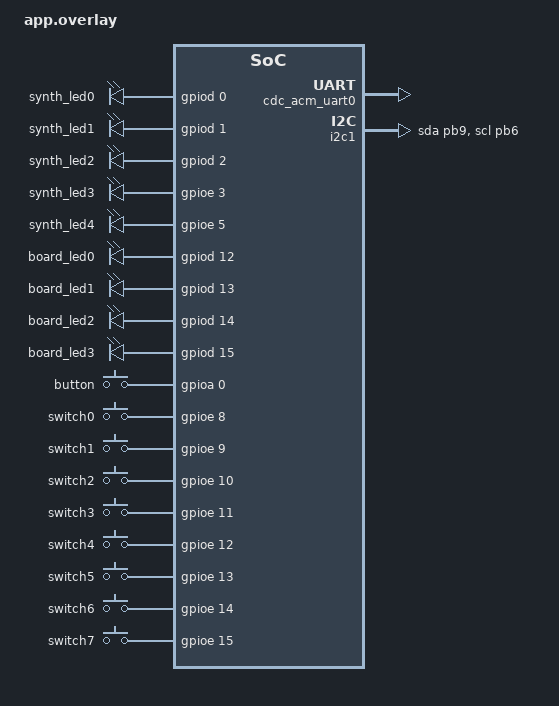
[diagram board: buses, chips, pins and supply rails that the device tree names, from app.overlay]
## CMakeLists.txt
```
cmake_minimum_required(VERSION 3.20.0)

set(BOARD stm32f4_disco)
set(CONF_FILE prj.conf)
find_package(Zephyr)
project(my_zephyr_app)

target_sources(app PRIVATE 
src/main.c 
src/gpio.c
src/task_main.c
src/scheduler.c
        src/task_abstraction.c
src/peripherals.c
)
```

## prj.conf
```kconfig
CONFIG_USB_DEVICE_STACK=y
CONFIG_USB_DEVICE_PID=0x0001

CONFIG_CONSOLE=y
CONFIG_SERIAL=y
CONFIG_STDOUT_CONSOLE=y
CONFIG_UART_LINE_CTRL=y

CONFIG_I2C=y
CONFIG_I2S=y
CONFIG_ADC=y
CONFIG_GPIO=y

# CONFIG_UART_INTERRUPT_DRIVEN=y
CONFIG_LOG=y
CONFIG_USB_DRIVER_LOG_LEVEL_ERR=y
CONFIG_USB_DEVICE_LOG_LEVEL_ERR=y
CONFIG_SERIAL=y
CONFIG_UART_INTERRUPT_DRIVEN=y
CONFIG_UART_LINE_CTRL=y
CONFIG_SYS_CLOCK_TICKS_PER_SEC=30000
CONFIG_MAIN_STACK_SIZE=2048
CONFIG_PRINTK=y
CONFIG_LOG_MODE_IMMEDIATE=y
```

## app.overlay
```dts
/ {
	chosen {
        zephyr,console = &cdc_acm_uart0;
    };

    leds {
        compatible = "gpio-leds";
        synth_led0: led_0 {
                gpios = <&gpiod 0 GPIO_ACTIVE_HIGH>;
        };
        synth_led1: led_1 {
                gpios = <&gpiod 1 GPIO_ACTIVE_HIGH>;
        };
        synth_led2: led_2 {
                gpios = <&gpiod 2 GPIO_ACTIVE_HIGH>;
        };
        synth_led3: led_3 {
                gpios = <&gpioe 3 GPIO_ACTIVE_HIGH>;
        };
        synth_led4: led_4 {
                gpios = <&gpioe 5 GPIO_ACTIVE_HIGH>;
        };
        board_led0: led_5 {
            gpios = <&gpiod 12 GPIO_ACTIVE_HIGH>;
        };
        board_led1: led_6 {
            gpios = <&gpiod 13 GPIO_ACTIVE_HIGH>;
        };
        board_led2: led_7 {
            gpios = <&gpiod 14 GPIO_ACTIVE_HIGH>;
        };
        board_led3: led_8 {
            gpios = <&gpiod 15 GPIO_ACTIVE_HIGH>;
        };
    };
    buttons {
        compatible = "gpio-keys";
        button: button {
            gpios = <&gpioa 0 GPIO_ACTIVE_HIGH>;
        };
        switch0: button_0 {
            gpios = <&gpioe 8 GPIO_ACTIVE_HIGH>;
        };
        switch1: button_1 {
            gpios = <&gpioe 9 GPIO_ACTIVE_HIGH>;
        };
        switch2: button_2 {
            gpios = <&gpioe 10 GPIO_ACTIVE_HIGH>;
        };
        switch3: button_3 {
            gpios = <&gpioe 11 GPIO_ACTIVE_HIGH>;
        };
        switch4: button_4 {
            gpios = <&gpioe 12 GPIO_ACTIVE_HIGH>;
        };
        switch5: button_5 {
            gpios = <&gpioe 13 GPIO_ACTIVE_HIGH>;
        };
        switch6: button_6 {
            gpios = <&gpioe 14 GPIO_ACTIVE_HIGH>;
        };
        switch7: button_7 {
            gpios = <&gpioe 15 GPIO_ACTIVE_HIGH>;
        };
    };

    aliases {
        switch0 = &switch0;
        switch1 = &switch1;
        switch2 = &switch2;
        switch3 = &switch3;
        switch4 = &switch4;
        switch5 = &switch5;
        switch6 = &switch6;
        switch7 = &switch7;
    };

};

&zephyr_udc0 {
	cdc_acm_uart0: cdc_acm_uart0 {
		compatible = "zephyr,cdc-acm-uart";
	};
};

&i2c1 {
    pinctrl-0 = <&i2c1_sda_pb9 &i2c1_scl_pb6>;
    pinctrl-names = "default";
    status = "okay";
};
```

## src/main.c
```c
/*
 * Copyright (c) 2016 Intel Corporation
 *
 * SPDX-License-Identifier: Apache-2.0
 */

#include <zephyr/kernel.h>
#include <zephyr/drivers/uart.h>
#include <zephyr/sys/printk.h>
#include <zephyr/sys/ring_buffer.h>
#include <zephyr/usb/usb_device.h>
#include <zephyr/usb/usbd.h>

#include "task_abstraction.h"
#include "gpio.h"
// Uncomment this macro if you want to print to the console.
//
// WARNING: this will mess up the timings, don't use when you are measuring with
// the logic analyzer.
//
// The initialization function will block until the computer opens the USB
// connection.
#define CONSOLE_ENABLED

// Scheduler Configuration
//
// Only uncomment one #define to select the Task Set
//
#define TASK_SET_1
// #define TASK_SET_2
// #define TASK_SET_3
//#define APERIODIC_TASKS

int main() {
#ifdef CONSOLE_ENABLED
  const struct device *usb_dev = DEVICE_DT_GET(DT_CHOSEN(zephyr_console));
  uint32_t dtr = 0;
  int ret = 0;

  // No need to initialize, as it happens during OS initialization, just enable it.
  if (usb_enable(NULL)) {
    return 1;
  }

    // This will block until the computer opens the USB
  while (!dtr) {
    uart_line_ctrl_get(usb_dev, UART_LINE_CTRL_DTR, &dtr);
    k_sleep(K_MSEC(100));
  }
#endif

    init_pins();
    init_peripherals();

#ifdef TASK_SET_1
    //Task Set 1
    spawn_task(2, 20, leds[0]);
    spawn_task(10, 40, leds[1]);
    spawn_task(30, 60, leds[2]);
#elif defined TASK_SET_2
    //Task Set 2
    // U = 1
    spawn_task(20, 40, leds[0]);
    spawn_task(24, 60, leds[1]);
    spawn_task(12, 120, leds[2]);
#elif defined TASK_SET_3
    //Task Set 3
    // U > 1
    spawn_task(10, 20, leds[0]);
    spawn_task(15, 30, leds[1]);
    spawn_task(20, 40,  leds[2]);

#elif defined APERIODIC_TASKS
    // Use define_aperiodic_task() to define aperiodic tasks
#endif

    run_scheduler(EDF);
    k_thread_suspend(k_current_get());

    return 0;
}
```

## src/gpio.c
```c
#include <stdbool.h>
#include <zephyr/drivers/gpio.h>
#include <zephyr/logging/log.h>
#include <zephyr/sys/printk.h>
#include "gpio.h"

const struct gpio_dt_spec led_board_0 = GPIO_DT_SPEC_GET(DT_NODELABEL(board_led0), gpios);
const struct gpio_dt_spec led_board_1 = GPIO_DT_SPEC_GET(DT_NODELABEL(board_led1), gpios);
const struct gpio_dt_spec led_board_2 = GPIO_DT_SPEC_GET(DT_NODELABEL(board_led2), gpios);
const struct gpio_dt_spec led_board_3 = GPIO_DT_SPEC_GET(DT_NODELABEL(board_led3), gpios);
const struct gpio_dt_spec led_synth_0 = GPIO_DT_SPEC_GET(DT_NODELABEL(synth_led0), gpios);
const struct gpio_dt_spec led_synth_1 = GPIO_DT_SPEC_GET(DT_NODELABEL(synth_led1), gpios);
const struct gpio_dt_spec led_synth_2 = GPIO_DT_SPEC_GET(DT_NODELABEL(synth_led2), gpios);
const struct gpio_dt_spec led_synth_3 = GPIO_DT_SPEC_GET(DT_NODELABEL(synth_led3), gpios);
const struct gpio_dt_spec led_synth_4 = GPIO_DT_SPEC_GET(DT_NODELABEL(synth_led4), gpios);
const struct gpio_dt_spec *leds[9] = {&led_board_0, &led_board_1, &led_board_2, &led_board_3, &led_synth_0, &led_synth_1,
                                     &led_synth_2, &led_synth_3, &led_synth_4};
const struct gpio_dt_spec button = GPIO_DT_SPEC_GET(DT_NODELABEL(button), gpios);

int init_pins() {    
    for (int i = 0; i < 9; i++) {
        if (!gpio_is_ready_dt(leds[i])) {
            printk("Error initializing LED.\n");
            return -1;
        }

        if (!device_is_ready(button.port)) {
            printk("Error initializing Button.\n");
            return -1;
        }
        gpio_pin_configure_dt(leds[i], GPIO_OUTPUT_ACTIVE);
        gpio_pin_configure_dt(&button, GPIO_INPUT);
        gpio_pin_set_dt(leds[i], false);
    }
    return 0;
}

int set_pin(const struct gpio_dt_spec *led) {
    gpio_pin_set_dt(led, true);
    return 0;
}

int unset_pin(const struct gpio_dt_spec *led) {
    gpio_pin_set_dt(led, false);
    return 0;
}

void reset_as() {
    // Set leds correctly
    for (int i = 0; i < sizeof(leds) / sizeof(leds[0]); i++) {
        unset_pin(leds[i]);
    }
}
```

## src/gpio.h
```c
#ifndef MY_ZEPHYR_APP_GPIO_H
#define MY_ZEPHYR_APP_GPIO_H

#include <zephyr/drivers/gpio.h>

extern const struct gpio_dt_spec led_board_0;
extern const struct gpio_dt_spec led_board_1;
extern const struct gpio_dt_spec led_board_2;
extern const struct gpio_dt_spec led_board_3;
extern const struct gpio_dt_spec led_synth_0;
extern const struct gpio_dt_spec led_synth_1;
extern const struct gpio_dt_spec led_synth_2;
extern const struct gpio_dt_spec led_synth_3;
extern const struct gpio_dt_spec led_synth_4;
extern const struct gpio_dt_spec *leds[];
extern const struct gpio_dt_spec button;

/// @brief Initialize the LEDs and the User Button
/// @return int - Returns 0 if the initialization is successful, -1 otherwise
int init_pins();

/// @brief Set the LED to On
/// @param led - The LED to be set
/// @return int - Returns 0 if the initialization is successful, -1 otherwise
int set_pin(const struct gpio_dt_spec *led);

/// @brief Set the LED to Off
/// @param led - The LED to be unset
/// @return int - Returns 0 if the initialization is successful, -1 otherwise
int unset_pin(const struct gpio_dt_spec *led);

/// @brief Unset all the LEDs
void reset_as();

#endif
```

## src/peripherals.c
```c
#include <zephyr/drivers/gpio.h>

#include "peripherals.h"

// GPIOs
const struct gpio_dt_spec sw1_dn = GPIO_DT_SPEC_GET(DT_ALIAS(switch4), gpios);
const struct gpio_dt_spec sw1_up = GPIO_DT_SPEC_GET(DT_ALIAS(switch5), gpios);
const struct gpio_dt_spec sw2_dn = GPIO_DT_SPEC_GET(DT_ALIAS(switch6), gpios);
const struct gpio_dt_spec sw2_up = GPIO_DT_SPEC_GET(DT_ALIAS(switch7), gpios);
const struct gpio_dt_spec sw3_dn = GPIO_DT_SPEC_GET(DT_ALIAS(switch2), gpios);
const struct gpio_dt_spec sw3_up = GPIO_DT_SPEC_GET(DT_ALIAS(switch3), gpios);

//Switches
enum SwitchState switches[3];

int init_peripherals(){
    for(int i=0; i<3; i++){
        switches[i] = Neutral;
    }
    return 0;
}

int peripherals_update(){
    // Update the switches
    bool up, dn;

    up = gpio_pin_get_dt(&sw1_up);
    dn = gpio_pin_get_dt(&sw1_dn);
    if (up == dn) {
        switches[0] = Neutral;
    } else if (up) {
        switches[0] = Up;
    } else {
        switches[0] = Down;
    }

    up = gpio_pin_get_dt(&sw2_up);
    dn = gpio_pin_get_dt(&sw2_dn);
    if (up == dn) {
        switches[1] = Neutral;
    } else if (up) {
        switches[1] = Up;
    } else {
        switches[1] = Down;
    }

    up = gpio_pin_get_dt(&sw3_up);
    dn = gpio_pin_get_dt(&sw3_dn);
    if (up == dn) {
        switches[2] = Neutral;
    } else if (up) {
        switches[2] = Up;
    } else {
        switches[2] = Down;
    }

    return 0;
}
```

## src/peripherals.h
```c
#ifndef MY_ZEPHYR_APP_PERIPHERALS_H
#define MY_ZEPHYR_APP_PERIPHERALS_H


enum SwitchState  { Down = -1, Neutral = 0, Up = 1 };

extern enum SwitchState switches[3];

/// @brief Peripherals initialization function
/// Call this function during initialization before calling the rest of the fuctions
/// @return 0 on success, -ERRNO otherwise
int init_peripherals();

/// @brief Call this function to update the encoders and switches
/// @return 0 on success, -ERRNO otherwise
int peripherals_update();


#endif //MY_ZEPHYR_APP_PERIPHERALS_H
```

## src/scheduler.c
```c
#include "task_abstraction.h"
#include "scheduler.h"
#include <zephyr/kernel.h>
#include "stdbool.h"
#include "gpio.h"


static int active_task = 0;
k_timeout_t example_scheduler(Task *tasks, int n, bool finished) {
    set_active_task(tasks[active_task].task_id);
    active_task = (active_task + 1) % n;
    return K_FOREVER;
}

int gcd(int a, int b) {
    while (b != 0) {
        int temp = b;
        b = a % b;
        a = temp;
    }
    return a;
}

int lcm(int a, int b) {
    return (a / gcd(a, b)) * b;
}

int calculateHyperperiod(Task *tasks, int n) {
    int hyperperiod = tasks[0].period;
    for (int i = 1; i < n; i++) {
        hyperperiod = lcm(tasks[i].period, hyperperiod);
    }
    return hyperperiod;
}


static Task *current_task = NULL;
static uint32_t last_scheduler_time = 0;

k_timeout_t rate_monotonic(Task *tasks, int n, bool finished) {
    uint32_t current_time = k_uptime_get();
    uint32_t elapsed_time = current_time - last_scheduler_time;
    last_scheduler_time = current_time;

    if (current_task != NULL) {
        if (elapsed_time >= current_task->remaining_time) {
            current_task->remaining_time = 0;
            finished = true;
        } else {
            current_task->remaining_time -= elapsed_time;
            finished = false;
        }
    }

    // All tasks arrive at the same time (time = 0), this bit is to update the next release time because the task
    // has to repeat before its next period (next release time)
    for (int i = 0; i < n; i++) {
        if (current_time >= tasks[i].next_release_time) {
            tasks[i].remaining_time = tasks[i].execution_time;
            tasks[i].next_release_time += tasks[i].period;
        }
    }

    // We loop through the tasks and check if they are unfinished
    // we take the task with the highest priority that is unfinished.

    Task *next_task = NULL;
    int max = INT_MAX;
    for (int i = 0; i < n; i++) {
        if (tasks[i].remaining_time > 0 && tasks[i].period < max) {
            max = tasks[i].period;
            next_task = &tasks[i];
        }
    }

    // Decide whether to preempt the current task
    // If the remaining time is 0 finished is true and another task should be set
    // If there is a next task replace it and there is either no current task or the next task has a shorter period
    // than the current task we set the next task as the current ask.
    if (finished || (next_task != NULL && (current_task == NULL || next_task->period < current_task->period))) {
        if (current_task != next_task) {
            current_task = next_task;
            if (current_task != NULL) {
                set_active_task(current_task->task_id);
            }
        }
    }

    // Calculate the delay until the next event
    // we return this so the scheduler can sleep this amount of time if need be
    uint32_t next_release_time = UINT32_MAX;

    // Time until current task completion
    if (current_task != NULL) {
        if (current_task->remaining_time < next_release_time) {
            next_release_time = current_task->remaining_time;
        }
    }

    // Time until next task release
    for (int i = 0; i < n; i++) {
        uint32_t time_until_release = tasks[i].next_release_time - current_time;
        if (time_until_release < next_release_time) {
            next_release_time = time_until_release;
        }
    }

    // If no task is ready, suspend the current thread, set_idle() is a wrapper that handles this
    if (next_task == NULL) {
        set_idle();
    }

    return K_MSEC(next_release_time);
}

k_timeout_t earliest_deadline_first(Task *tasks, int n, bool finished) {
    uint32_t current_time = k_uptime_get();
    uint32_t elapsed_time = current_time - last_scheduler_time;
    last_scheduler_time = current_time;

    if (current_task != NULL) {
        if (elapsed_time >= current_task->remaining_time) {
            current_task->remaining_time = 0;
            finished = true;
        } else {
            current_task->remaining_time -= elapsed_time;
            finished = false;
        }
    }

    // All tasks arrive at the same time (time = 0), this bit is to update the next release time because the task
    // has to repeat before its next period (next release time)
    for (int i = 0; i < n; i++) {
        if (current_time >= tasks[i].next_release_time) {
            tasks[i].remaining_time = tasks[i].execution_time;
            tasks[i].next_release_time += tasks[i].period;
            tasks[i].deadline += tasks[i].period;
        }
    }

    // We loop through the tasks and check if they are unfinished
    // we take the task with the highest priority that is unfinished.

    Task *next_task = NULL;
    int max = INT_MAX;
    for (int i = 0; i < n; i++) {
        if (tasks[i].remaining_time > 0 && tasks[i].deadline < max) {
            max = tasks[i].deadline;
            next_task = &tasks[i];
        }
    }

    // Decide whether to preempt the current task
    // If the remaining time is 0 finished is true and another task should be set
    // If there is a next task replace it and there is either no current task or the next task has a shorter period
    // than the current task we set the next task as the current ask.
    if (finished || (next_task != NULL && (current_task == NULL || next_task->deadline < current_task->deadline))) {
        if (current_task != next_task) {
            current_task = next_task;
            if (current_task != NULL) {
                set_active_task(current_task->task_id);
            }
        }
    }

    // Calculate the delay until the next event
    // we return this so the scheduler can sleep this amount of time if need be
    uint32_t next_release_time = UINT32_MAX;

    // Time until current task completion
    if (current_task != NULL) {
        if (current_task->remaining_time < next_release_time) {
            next_release_time = current_task->remaining_time;
        }
    }

    // Time until next task release
    for (int i = 0; i < n; i++) {
        uint32_t time_until_release = tasks[i].next_release_time - current_time;
        if (time_until_release < next_release_time) {
            next_release_time = time_until_release;
        }
    }

    // If no task is ready, suspend the current thread, set_idle() is a wrapper that handles this
    if (next_task == NULL) {
        set_idle();
    }

    return K_MSEC(next_release_time);
}

k_timeout_t background_scheduler(Task *tasks, Task *aperiodicTask, int n, bool finished){
    return K_FOREVER;
}

k_timeout_t schedule_immediately(Task *tasks, Task *aperiodicTask, int n, bool finished){
    return K_FOREVER;
}
```

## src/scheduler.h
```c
#ifndef MY_ZEPHYR_APP_SCHEDULER_H
#define MY_ZEPHYR_APP_SCHEDULER_H

#include <zephyr/kernel.h>

/// This represents a Task and all additional information necessary to schedule the task.
typedef struct {
    /// The id assigned to this task by Zephyr. Used internally by `set_active_task`.
    k_tid_t task_id;
    /// The maximal time the task will take to execute in ms.
    int execution_time;
    /// The scheduler should aim to execute this task every `period` ms.
    int period;
    /// The value calculated by the task
    int value;
    // Flag to check if task is active
    bool active;
    /// Feel free to add your own fields that are used for scheduling below.

    // following two added for rm
    int next_release_time;
    int remaining_time;

    // following added for edf
    int deadline;
} Task;


/// @enum This enum represents the different types of schedulers that can be used.
typedef enum{
    RM = 0,     ///< Rate Monotonic
    EDF = 1,    ///< Earliest Deadline First
    BS = 2,     ///< Background Scheduler
    SIE = 3,    ///< Schedule it Immediately
    EG = 4      ///< Example Scheduler
}SchedulerType;

/// @brief This is a very simple scheduler that demonstrates how the provided APIs can be used.
/// @brief The function should call `set_active_task` to select which task should be running.
/// @brief Then, it should return a sleep time in milliseconds, when the scheduler should next be executed.
/// @param tasks The array of tasks that should be scheduled.
/// @param n The number of tasks in the array.
/// @param finished A boolean that is true when the task finished execution
k_timeout_t example_scheduler(Task *tasks, int n, bool finished);


/// @brief In this function you should write a rate monotonic scheduler.
/// @param tasks The array of tasks that should be scheduled.
/// @param n The number of tasks in the array.
/// @param finished A boolean that is true when the task finished execution
k_timeout_t rate_monotonic(Task *tasks, int n, bool finished);


/// @brief In this function you should write an earliest deadline first scheduler.
/// @param tasks The array of tasks that should be scheduled.
/// @param n The number of tasks in the array.
/// @param finished A boolean that is true when the task finished execution
k_timeout_t earliest_deadline_first(Task *tasks, int n, bool finished);


/// @brief In this function you should write an background hybrid task scheduler.
/// @param tasks The array of tasks that should be scheduled.
/// @param aperiodicTask The array of aperiodic tasks that should be scheduled.
/// @param n The number of tasks in the array.
/// @param finished A boolean that is true when the task finished execution
k_timeout_t background_scheduler(Task *tasks, Task *aperiodicTask, int n, bool finished);

/// @brief In this function you should write an schedule it immediately hybrid task scheduler.
/// @param tasks The array of tasks that should be scheduled.
/// @param aperiodicTask The array of aperiodic tasks that should be scheduled.
/// @param n The number of tasks in the array.
/// @param finished A boolean that is true when the task finished execution
k_timeout_t schedule_immediately(Task *tasks, Task *aperiodicTask, int n, bool finished);


#endif
```

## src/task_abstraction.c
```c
#include <zephyr/kernel.h>
#include <zephyr/logging/log.h>
#include <zephyr/drivers/gpio.h>
#include <zephyr/kernel/thread.h>
#include "gpio.h"
#include "task_main.h"
#include "stdbool.h"
#include "scheduler.h"
#include "peripherals.h"
#include "task_abstraction.h"

#define STACK_SIZE 512

// Note: Additional Stacks need to be defined in-case the value is increased
#define MAX_PERIODIC_THREADS 8
#define MAX_APERIODIC_THREADS 3

static int thread_counter = 0;
k_tid_t scheduler_thread = 0;

static AperiodicTask aperiodicTask[3];
static Task task_set[MAX_PERIODIC_THREADS];
static Task aperiodictask_set[MAX_APERIODIC_THREADS];
static k_tid_t current_task = NULL;

// Stack allocation for all the Periodic Tasks
K_THREAD_STACK_DEFINE(periodic_stack0, STACK_SIZE);
K_THREAD_STACK_DEFINE(periodic_stack1, STACK_SIZE);
K_THREAD_STACK_DEFINE(periodic_stack2, STACK_SIZE);
K_THREAD_STACK_DEFINE(periodic_stack3, STACK_SIZE);
K_THREAD_STACK_DEFINE(periodic_stack4, STACK_SIZE);
K_THREAD_STACK_DEFINE(periodic_stack5, STACK_SIZE);
K_THREAD_STACK_DEFINE(periodic_stack6, STACK_SIZE);
K_THREAD_STACK_DEFINE(periodic_stack7, STACK_SIZE);
// Stack Allocation for Aperiodic Tasks
K_THREAD_STACK_DEFINE(aperiodic_stack0, STACK_SIZE);
K_THREAD_STACK_DEFINE(aperiodic_stack1, STACK_SIZE);
K_THREAD_STACK_DEFINE(aperiodic_stack2, STACK_SIZE);

// Stack definition for all the threads
k_thread_stack_t *periodic_stacks[MAX_PERIODIC_THREADS] = {&periodic_stack0, &periodic_stack1, &periodic_stack2, &periodic_stack3, &periodic_stack4, &periodic_stack5, &periodic_stack6, &periodic_stack7};
k_thread_stack_t *aperiodic_stacks[MAX_APERIODIC_THREADS] = {&aperiodic_stack0, &aperiodic_stack1, &aperiodic_stack2};

// Thread definition for all the threads
struct k_thread ptsk_thread[MAX_PERIODIC_THREADS];
struct k_thread aptsk_thread[MAX_APERIODIC_THREADS];

// Callback function for interrupt
static struct gpio_callback button_cb_data;


bool spawn_task(int execution_time, int period, const struct gpio_dt_spec *pin) {
    Task task;

    task.execution_time = execution_time;
    task.period = period;
    task.value = 0;
    task.next_release_time = 0;

    if (thread_counter == MAX_PERIODIC_THREADS) {
        printk("Spawned too many threads!\n");
        return false;
    }
    k_thread_stack_t *stack = periodic_stacks[thread_counter];
    struct k_thread *thread = &ptsk_thread[thread_counter];


    k_tid_t tid = k_thread_create(thread, stack, STACK_SIZE, (void *) task_main, (void *) pin, execution_time, &task_set[thread_counter].value, 5, 0,
                                  K_NO_WAIT);
    task.task_id = tid;
    task_set[thread_counter] = task;

    thread_counter++;

    k_thread_suspend(tid);
    printk("Spawned Task-> Execution Time: %d Period: %d\n", execution_time, period);
    return true;
}

void define_aperiodic_task(int switch_number, enum SwitchState switch_state, unsigned int execution_time, const struct gpio_dt_spec *pin){
    if(switch_number > 2 || switch_number < 0){
        printk("Illegal Switch Number!\n");
        return;
    }
    for(int i = 0; i< MAX_APERIODIC_THREADS; i++){
        if(aperiodicTask[i].pin == NULL){
            aperiodicTask[i].switch_number = switch_number;
            aperiodicTask[i].switch_state = switch_state;
            aperiodicTask[i].execution_time = execution_time;
            aperiodicTask[i].pin = pin;
            break;
        }
    }
}

void spawn_aperiodictask(unsigned int execution_time, const struct gpio_dt_spec *pin) {
    Task task;

    task.execution_time = execution_time;
    task.value = 0;

    int inactive_task = -1;
    for(int i = 0; i < MAX_APERIODIC_THREADS; i++){
        if(aperiodictask_set[i].active == false){
            inactive_task = i;
            break;
        }
    }
    // If all the aperiodic tasks are active, return
    // Note: Do not add a printk statement here, since this is called by a interrupt handler
    if(inactive_task == -1){
        return;
    }

    k_thread_stack_t *stack = aperiodic_stacks[inactive_task];
    struct k_thread *thread = &aptsk_thread[inactive_task];


    k_tid_t tid = k_thread_create(thread, stack, STACK_SIZE, (void *) task_main, (void *) pin, execution_time, &aperiodictask_set[inactive_task].value, 5, 0,
                                  K_NO_WAIT);
    task.task_id = tid;
    aperiodictask_set[inactive_task] = task;
    aperiodictask_set[inactive_task].active = true;

    k_thread_suspend(tid);
}


void set_active_task(k_tid_t task_tid) {
    if (current_task != NULL) {
        k_thread_suspend(current_task);
    }
    current_task = task_tid;
    k_thread_resume(current_task);
}

void set_idle() {
    if (current_task != NULL) {
        k_thread_suspend(current_task);
    }
    current_task = NULL;
}

void button_pressed(const struct device *dev, struct gpio_callback *cb, uint32_t pins){
    peripherals_update();
    for(int i = 0; i < MAX_APERIODIC_THREADS; i++){
        if(switches[aperiodicTask[i].switch_number] == aperiodicTask[i].switch_state){
            spawn_aperiodictask(aperiodicTask[i].execution_time, aperiodicTask[i].pin);
            printk("Spawned Aperiodic Task %d\n", i);
        }
    }
}

void run_scheduler(SchedulerType type) {
    int num_tasks = thread_counter;
    scheduler_thread = k_current_get();

    // Setting up the button interrupt
    gpio_pin_interrupt_configure_dt(&button,GPIO_INT_EDGE_RISING);
    gpio_init_callback(&button_cb_data, button_pressed, BIT(button.pin));
    gpio_add_callback(button.port, &button_cb_data);

    bool finished = false;
    while (true) {
        reset_as();
        k_timeout_t sleep = schedule(type, &task_set, &aperiodictask_set, num_tasks, finished);
        finished = k_sleep(sleep) != 0;
    }
}

k_timeout_t schedule(SchedulerType type, Task *tasks, Task *aperiodicTask,int n, bool finished) {
    // Call the scheduler based on which one is selected
    switch(type){
        case RM:
            return rate_monotonic(tasks, n, finished);
        case EDF:
            return earliest_deadline_first(tasks, n, finished);
        case BS:
            return background_scheduler(tasks, aperiodicTask, n, finished);
        case SIE:
            return schedule_immediately(tasks, aperiodicTask, n, finished);
        default:
            return example_scheduler(tasks, n, finished);
    }
}
```

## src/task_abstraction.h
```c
#ifndef MY_ZEPHYR_APP_TASK_ABSTRACTION_H
#define MY_ZEPHYR_APP_TASK_ABSTRACTION_H

#include <zephyr/kernel/thread.h>
#include <zephyr/drivers/gpio.h>
#include "peripherals.h"
#include "scheduler.h"

extern k_tid_t scheduler_thread;

/// @brief Represents an Aperiodic Task and all additional information necessary to schedule the task.
typedef struct {
    int switch_number;
    enum SwitchState switch_state;
    unsigned int execution_time;
    const struct gpio_dt_spec *pin;
}AperiodicTask;

/// @brief Spawn a new instance of `Task`.
/// @param execution_time the execution time of the task (in ms)
/// @param period the period after which the task will spawn (in ms)
/// @param pin LED that the task sets to high when it is executing should be one of the options defined in `gpio.h`.
bool spawn_task(int execution_time, int period, const struct gpio_dt_spec *pin);

/// @brief Spawn a predefined Aperiodic task.
/// @param execution_time the execution time of the task (in ms)
/// @param pin LED that the task sets to high when it is executing should be one of the options defined in `gpio.h`.
void spawn_aperiodictask(unsigned int execution_time, const struct gpio_dt_spec *pin);

/// @brief Define a new instance of `Aperiodic_Task`.
/// @param switch_number the switch number that the task is associated with
/// @param switch_state the state of the switch that the task is associated with
/// @param execution_time the execution time of the task (in ms)
/// @param pin LED that the task sets to high when it is executing should be one of the options defined in `gpio.h`.
void define_aperiodic_task(int switch_number, enum SwitchState switch_state, unsigned int execution_time, const struct gpio_dt_spec *pin);

/// @brief Set the task that will be executed when the scheduler yields. This function is not blocking.
/// @param task_tid the task id of the task that should be executed next
void set_active_task(k_tid_t task_tid);

/// @brief This function will halt all the current task
void set_idle();

/// @brief Interrupt Handler function. Called when user_button is pressed
void button_pressed(const struct device *dev, struct gpio_callback *cb, uint32_t pins);

/// @brief Starts the main scheduler loop
/// @param type Select the which scheduler you want to use
void run_scheduler(SchedulerType type);

/// @brief This function can be used to choose which scheduler should be used.
/// @param type select the type of schedule to execute
/// @param t is an array of periodic tasks, of length `n`.
/// @param at is an array of aperiodic tasks.
/// @param n total number of periodic tasks
/// @param finished states whether schedule was called because the previous task was finished (true) or because the timer expired (false).
/// @return k_timeout_t - Returns the time in milliseconds until the next task should be executed.
k_timeout_t schedule(SchedulerType type, Task *t, Task *at,int n, bool finished);

#endif
```

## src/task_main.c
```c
#include <zephyr/kernel.h>
#include <zephyr/drivers/gpio.h>
#include "gpio.h"
#include "task_abstraction.h"

void task_main(const struct gpio_dt_spec *pin, int execution_time, int* thread_value) {
    int64_t task_value = 0;
    while(true) {
        // To convert ms into ticks multiply by 30, since ticks/sec = 30,000
        int64_t target = k_uptime_ticks() + (execution_time*30);
        int64_t last = k_uptime_ticks();
        while (true) {
            // Set leds correctly
            set_pin(pin);

            int64_t current = k_uptime_ticks();

            // Task was preempted, we don't count this as execution time
            if (current - last > 10) {
                target += (current - last);
            }
            last = current;

            // Task Action
            *thread_value = *thread_value + 1;

            // If this task finished, break the loop
            if (current >= target) {
                break;
            }
        }
        unset_pin(pin);
        k_wakeup(scheduler_thread);
    }
}
```

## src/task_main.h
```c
#ifndef MY_ZEPHYR_APP_TASK_MAIN_H
#define MY_ZEPHYR_APP_TASK_MAIN_H

#include <zephyr/drivers/gpio.h>

/// @brief The main task that will be executed by the scheduler
/// @param pin the pin that the task is associated with (LED)
/// @param execution_time the execution time of the task (in ms)
/// @param thread_value the value that the task will set
void task_main(const struct gpio_dt_spec *pin, int execution_time, int* thread_value);

#endif
```
